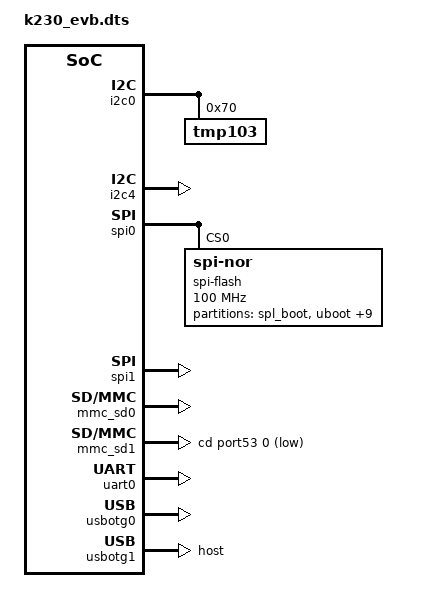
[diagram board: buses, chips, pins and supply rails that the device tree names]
/* Copyright (c) 2023, Canaan Bright Sight Co., Ltd
 *
 * This program is free software; you can redistribute it and/or modify
 * it under the terms of the GNU General Public License version 2 as
 * published by the Free Software Foundation.
*/
#include "k230.dtsi"
#include "clock_provider.dtsi"          /* k230 soc clock tree */
#include "clock_consumer.dtsi"          /* k230 soc clock consumer */
#include "reset_provider.dtsi"          /* k230 soc reset provider */
#include "reset_consumer.dtsi"          /* k230 soc reset consumer */
#include "power_provider.dtsi"          /* k230 soc power provider */
#include "power_consumer.dtsi"          /* k230 soc power consumer */
#include "gpio_provider.dtsi"           /* k230 soc gpio provider */
#include "gpio_consumer.dtsi"           /* k230 soc gpio consumer */


/ {
	aliases {
		serial0 = &uart0;
	};

	chosen {
		bootargs = "earlycon=sbi console=ttyS0,115200 loglevel=8 root=/dev/mmcblk1p2 rw rootwait audit=0";
		linux,initrd-start = <0x0 0xa100000>;
		linux,initrd-end = <0x0 0x0>;
		stdout-path = "serial0:115200";
	};
};
&ddr {
	reg = <0x0 0x200000 0x0 0x1fdff000>;  /*linux memory config*/
};

&i2c0 {
    status = "okay";
    tmp103: tmp103@70{
        compatible = "tmp103";
        reg = <0x70>;
    };
};

&gpio29 {
	status = "okay";
};

&gpio30 {
	status = "okay";
};

&i2c4 {
	status = "okay";
};

&spi0 {
	status = "okay";
	spi-flash@0 {
		compatible = "jedec,spi-nor";
		//compatible = "spi-nand";
		//compatible = "rohm,dh2228fv";
		#address-cells = <1>;
		#size-cells = <1>;
		reg = <0>;
		spi-max-frequency = <100000000>;
		spi-tx-bus-width = <8>;
		spi-rx-bus-width = <8>;
		status = "okay";
		partitions {
			compatible = "fixed-partitions";
			#address-cells = <1>;
			#size-cells = <1>;

            partition@0 {
                /* spl boot */
                reg = <0x0 0x00080000>;
                label = "spl_boot";
            };

            partition@80000 {
                /* normal boot */
                reg = <0x00080000 0x00180000>;
                label = "uboot";
            };
            partition@200000 {
                reg = <0x200000 0x80000>;
                label = "quick_boot_cfg ";
            };
            partition@280000 {
                reg = <0x280000 0x80000>;
                label = "face_db";
            };
            partition@300000 {
                reg = <0x300000 0x40000>;
                label = "sensor_cfg";
            };
            partition@640000 {
                reg = <0x640000 0x200000>;
                label = "speckle";
            };
            partition@a00000 {
                reg = <0xa00000 0x5c0000>;
                label = "rttapp";
            };
            partition@840000 {
                reg = <0x840000 0x1c0000>;
                label = "rttk";
            };
           
            partition@fc0000 {
                reg = <0xfc0000 0x700000>;
                label = "linux";
            };

            partition@16c0000 {
                reg = <0x16c0000 0x900000>;
                label = "rootfs";
            };
            partition@2000000 {
                /* 32MB for  update image*/
                reg = <0 0x2000000>;
                label = "all_flash";
            };
		};
	};

};

&gpio18 {
	status = "okay";
};

&gpio22 {
	status = "okay";
};

&gpio20 {
	status = "okay";
};

&spi1 {
	status = "okay";
	spi-lcd@0 {
		compatible = "sitronix,st7735s";
		status = "disabled";
		reg = <0>;
		fps = <30>;
		spi-max-frequency = <25000000>;
		rotate  = <270>;
		buswidth = <8>;
		spi-tx-bus-width = <1>;
		spi-rx-bus-width = <1>;
		cs-gpios = <&port18 0 GPIO_ACTIVE_HIGH>;
		dc-gpios = <&port22 0 GPIO_ACTIVE_HIGH>;
		reset-gpios = <&port20 0 GPIO_ACTIVE_LOW>;
	};
};

&mmc_sd0{
    status = "okay";
    is_emmc;
    io_fixed_1v8;
    mmc-hs200-1_8v;
    rx_delay_line = <0x00>;
    tx_delay_line = <0xc0>;
};

&gpio53 {
	status = "okay";
};

&mmc_sd1{
    status = "okay";
    cd-gpios = <&port53 0 GPIO_ACTIVE_LOW>;
    no-1-8-v;
    cap-sd-highspeed;
    mshc_ctrl_r = <0x00>;
};

&uart0 {
	status = "okay";
};

&usbotg0 {
	status = "okay";
};

&usbotg1 {
	dr_mode = "host";
	status = "okay";
};
